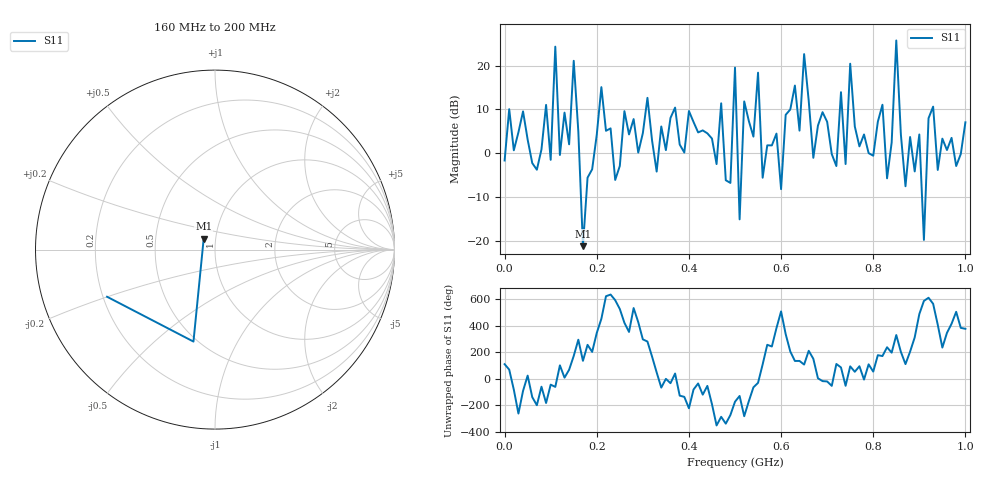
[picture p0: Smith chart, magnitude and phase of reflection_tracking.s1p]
! Created with skrf 1.8.0 (http://scikit-rf.org).
# Hz S RI R 50.0
!freq ReS11 ImS11
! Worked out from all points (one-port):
!   101 points, 50 kHz to 1 GHz, reference 50 ohm
!   lowest |S11| = -21.2 dB at 170 MHz (marker M1), VSWR 1.19, Z = 43.8 + j5.31 ohm
!   |S11| at or under -10 dB: 165.8 MHz to 177.2 MHz (11.45 MHz wide, 6.68 % of centre); 508.6 MHz to 511.9 MHz (3.356 MHz wide, 0.658 % of centre); 905.9 MHz to 913.5 MHz (7.584 MHz wide, 0.834 % of centre)
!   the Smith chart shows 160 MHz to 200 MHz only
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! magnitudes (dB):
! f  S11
! 50 kHz  -1.7
! 100 MHz  -1.5
! 110 MHz  24.3
! 120 MHz  -0.4
! 130 MHz  9.3
! 150 MHz  21.1
! 170 MHz  -21.2
! 210 MHz  15.1
! 250 MHz  -2.9
! 380 MHz  2.0
! 470 MHz  11.4
! 490 MHz  -6.8
! 500 MHz  19.5
! 510 MHz  -15.1
! 520 MHz  11.8
! 600 MHz  -8.2
! 630 MHz  15.4
! 730 MHz  13.9
! 740 MHz  -2.5
! 750 MHz  20.4
! 830 MHz  -5.7
! 850 MHz  25.7
! 870 MHz  -7.5
! 880 MHz  3.7
! 900 MHz  4.3
! 910 MHz  -19.8
! 920 MHz  8.0
! 1 GHz  7.1
